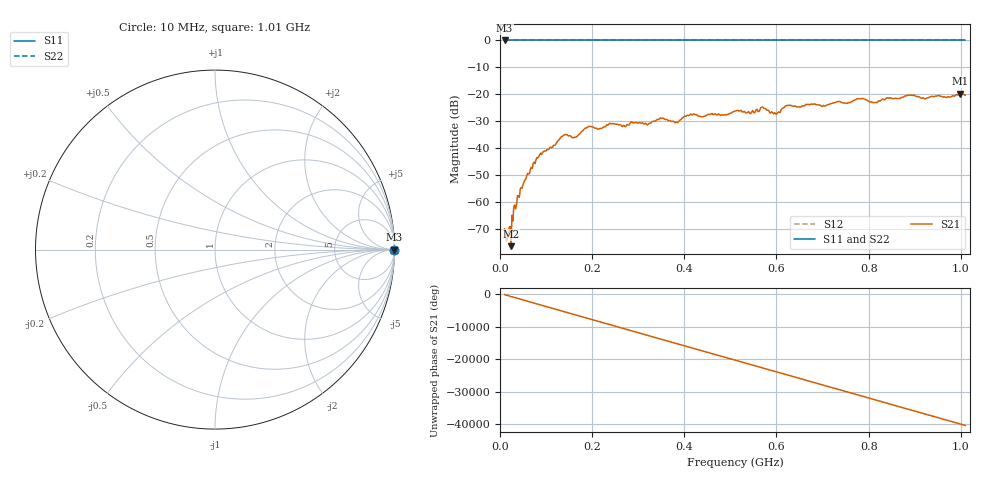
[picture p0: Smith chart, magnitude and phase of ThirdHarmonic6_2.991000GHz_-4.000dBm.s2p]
! 8/17/2025 8:31:24 AM
! C:\ANRITSUVNA\TEMP\TEMP.S2P
! CHANNEL.1
! TR.MEASUREMENT
! RAW.DATA
! RF.CORRECTION.OFF
! AVERAGING.OFF
! IF.BANDWIDTH: 5KHZ
! SWEEPTYPE:  FREQ.SWEEP(Linear)
! Reference Plane Port Info
! PORT:  PORT1  PORT2
! DISTANCE:  0  m  0  m
! TIME:  0  s  0  s
! PHASE.OFFSET:  0  deg.  0  deg.
! LOSS:  0  dB  0  dB
! REF.LOSS:  0  dB  0  dB
! REF.FREQ:  0  Hz  0  Hz
! Power Info
! POWER:  -20  dBm  -20  dBm
! EFF.POWER:  -20  dBm  -20  dBm
! SOURCE.ATTEN:  0  dB  0  dB
! TEST.ATTEN:  0  dB  0  dB
# GHZ S RI R 50.0
! FREQ.GHZ  S11RE  S11IM  S21RE  S21IM  S12RE  S12IM  S22RE  S22IM
!; PortSelection: Port_12
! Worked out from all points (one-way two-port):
!   501 points, 10 MHz to 1.01 GHz, reference 50 ohm
!   highest |S21| = -19.74 dB at 998 MHz (marker M1); lowest = -76.6 dB at 24 MHz (marker M2)
!   lowest |S11| = 0.0 dB at 10 MHz (marker M3)
!   |S11| at or under -10 dB: nowhere
!   |S22| runs from 0.0 to 0.0 dB; largest |S21 - S12| = 1.1
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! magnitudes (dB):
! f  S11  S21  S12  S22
! 10 MHz  0.0  -70.1  0.0  0.0
! 20 MHz  0.0  -69.6  0.0  0.0
! 24 MHz  0.0  -76.6  0.0  0.0
! 30 MHz  0.0  -61.8  0.0  0.0
! 42 MHz  0.0  -58.4  0.0  0.0
! 84 MHz  0.0  -43.3  0.0  0.0
! 136 MHz  0.0  -35.6  0.0  0.0
! 162 MHz  0.0  -36.1  0.0  0.0
! 178 MHz  0.0  -33.7  0.0  0.0
! 344 MHz  0.0  -29.4  0.0  0.0
! 382 MHz  0.0  -30.5  0.0  0.0
! 416 MHz  0.0  -27.7  0.0  0.0
! 510 MHz  0.0  -26.3  0.0  0.0
! 570 MHz  0.0  -24.8  0.0  0.0
! 598 MHz  0.0  -27.2  0.0  0.0
! 624 MHz  0.0  -24.2  0.0  0.0
! 678 MHz  0.0  -23.6  0.0  0.0
! 784 MHz  0.0  -21.7  0.0  0.0
! 814 MHz  0.0  -23.0  0.0  0.0
! 844 MHz  0.0  -21.5  0.0  0.0
! 998 MHz  0.0  -19.7  0.0  0.0
! 1.01 GHz  0.0  -20.4  0.0  0.0
